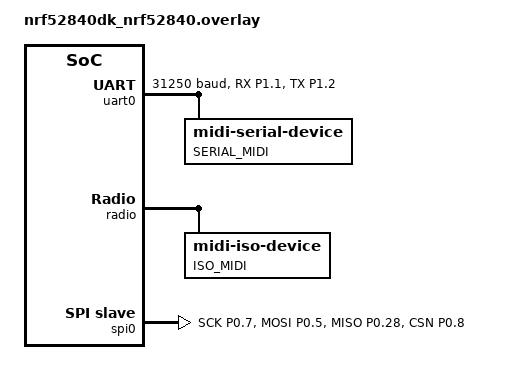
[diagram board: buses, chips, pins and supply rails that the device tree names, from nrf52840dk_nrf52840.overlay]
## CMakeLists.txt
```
cmake_minimum_required(VERSION 3.13.1)

find_package(Zephyr REQUIRED HINTS $ENV{ZEPHYR_BASE})
project(broadcaster_midi)

# NORDIC SDK APP START
target_sources(app PRIVATE
  src/main.c
)
# NORDIC SDK APP END

zephyr_library_include_directories(${CMAKE_CURRENT_SOURCE_DIR})
```

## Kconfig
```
source "Kconfig.zephyr"

config PRODUCT_ID
    string "Product ID"
    default "0x0001"
    help
      Product ID

config MIDI_TEST_MODE
	bool "Run sample in test mode"
  default n

if MIDI_TEST_MODE

  config MIDI_TEST_MSG_NUM_INCREMENT
    bool "Increment number of messages to send"
    default n
    help
      Increment number of messages sent If enabled, the number of messages will increment from 1 to the value set in MIDI_TEST_MSG_NUM.
  
  config MIDI_TEST_MSG_NUM
    int "Number of messages to send"
    default 1 
    default 2 if MIDI_TEST_2_MSG_500_INTERVAL
    default 2 if MIDI_TEST_2_MSG_500_INTERVAL_1000_SPACING
    default 2 if MIDI_TEST_2_MSG_500_INTERVAL_3000_SPACING
    default 12 if MIDI_TEST_12_MSG_500_INTERVAL
    help
      Number of messages to send

  config MIDI_TEST_MSG_INTERVAL_RANDOM
    bool "Randomize interval between messages"
    default n
    help
      Randomize interval between messages. If enabled, the interval will be a random value between 0 and the value set in MIDI_TEST_MSG_INTERVAL.

  config MIDI_TEST_MSG_INTERVAL
    int "Interval between clusters of messages (ms)"
    default 500
    help
      Interval between messages

  config MIDI_TEST_MSG_SPACING_RANDOM
    bool "Randomize interval between messages"
    default n
    help
      Randomize interval between messages. If enabled, the interval will be a random value between 0 and the value set in MIDI_TEST_MSG_SPACING.

  config MIDI_TEST_MSG_SPACING
    int "Spacing between single messages (us)"
    default 0
    default 1000 if MIDI_TEST_2_MSG_500_INTERVAL_1000_SPACING
    default 3000 if MIDI_TEST_2_MSG_500_INTERVAL_3000_SPACING
    help
      Spacing between single messages

  config MIDI_TEST_SYSEX
    bool "Send sysex test message"
    default n
    help
      Send sysex message


endif
```

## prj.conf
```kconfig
CONFIG_PRODUCT_ID="1050276126"

# Enable the UART driver
CONFIG_UART_ASYNC_API=y
CONFIG_NRFX_UARTE0=y

CONFIG_HEAP_MEM_POOL_SIZE=4096

# Enable the BLE stack
CONFIG_BT=y

CONFIG_BT_ISO_BROADCASTER=y
CONFIG_LOG=y
CONFIG_BT_DEVICE_NAME="Test ISO Broadcaster"

CONFIG_BT_ISO_MAX_CHAN=1
CONFIG_BT_ISO_TX_BUF_COUNT=2

# Just needs to send a uint32_t value
CONFIG_BT_ISO_TX_MTU=96
CONFIG_BT_CTLR_ADV_ISO=y
CONFIG_BT_CTLR_ADV_ISO_PDU_LEN_MAX=96
CONFIG_BT_CTLR_ADV_ISO_STREAM_MAX=1

CONFIG_BT_CTLR_ISOAL_SOURCES=1

CONFIG_BT_CTLR_ADV_DATA_LEN_MAX=96

# FIXME: Host needs CONFIG_BT_ISO_TX_MTU + 4 bytes for sequence number, and
# optionally additional + 4 bytes for timestamp when not using
# BT_ISO_TIMESTAMP_NONE in bt_iso_chan_send(), otherwise Host tries to fragment
# ISO data.
# When Host is fixed, CONFIG_BT_CTLR_ISO_TX_BUFFER_SIZE can inherit the
# CONFIG_BT_ISO_TX_MTU value.
CONFIG_BT_CTLR_ISO_TX_BUFFER_SIZE=100
CONFIG_BT_CTLR_ISOAL_SN_STRICT=n
CONFIG_BT_LL_SW_SPLIT=y


# Enable DK LED and Buttons library
CONFIG_DK_LIBRARY=y

# This example requires more workqueue stack
CONFIG_SYSTEM_WORKQUEUE_STACK_SIZE=8192

# Config logger
CONFIG_LOG=y
CONFIG_USE_SEGGER_RTT=y
CONFIG_LOG_BACKEND_RTT=y
CONFIG_LOG_BACKEND_UART=n
CONFIG_CONSOLE=n
CONFIG_UART_CONSOLE=n

CONFIG_MIDI=y
CONFIG_MIDI_SERIAL=y
CONFIG_MIDI_ISO_BROADCASTER=y
CONFIG_MIDI_PARSER=y
CONFIG_MIDI_UMP=y
CONFIG_MIDI_CI=y


CONFIG_SPI=y
CONFIG_SPI_SLAVE=y

CONFIG_NRFX_TIMER3=y

CONFIG_MIDI_TEST_MODE=y
# CONFIG_MIDI_TEST_1_MSG_500_INTERVAL=y
# CONFIG_MIDI_TEST_2_MSG_500_INTERVAL_1000_SPACING=y
# CONFIG_MIDI_TEST_2_MSG_500_INTERVAL_3000_SPACING=y

#Override test parameters
CONFIG_MIDI_TEST_MSG_INTERVAL_RANDOM=y
CONFIG_MIDI_TEST_MSG_INTERVAL=1500
CONFIG_MIDI_TEST_MSG_SPACING_RANDOM=y
CONFIG_MIDI_TEST_MSG_SPACING=1000
CONFIG_MIDI_TEST_MSG_NUM=5

# CONFIG_MIDI_TEST_SYSEX=n
```

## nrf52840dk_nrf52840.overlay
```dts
&pinctrl {
	uart0_default: uart0_default {
		group1 {
			psels = <NRF_PSEL(UART_RX, 1, 1)>;
			bias-pull-up;
		};
		group2 {
			psels = <NRF_PSEL(UART_TX, 1, 2)>;
		};
	};

	uart0_sleep: uart0_sleep {
		group1 {
			psels = <NRF_PSEL(UART_RX, 1, 1)>,
				<NRF_PSEL(UART_TX, 1, 2)>;
			low-power-enable;
		};
	};

	spi0_default: spi0_default {
		group1 {
			psels = <NRF_PSEL(SPIS_SCK, 0, 7)>,
				<NRF_PSEL(SPIS_MOSI, 0, 5)>,
				<NRF_PSEL(SPIS_MISO, 0, 28)>,
				<NRF_PSEL(SPIS_CSN, 0, 8)>;
		};
	};
};

&uart0 {
	current-speed = <31250>;
    pinctrl-0 = <&uart0_default>;
	pinctrl-1 = <&uart0_sleep>;
    midi_serial_device {
        label = "SERIAL_MIDI";
        compatible = "midi-serial-device";
        midi_serial_in_device{
            compatible = "midi-serial-in-device";
            label = "SERIAL_MIDI_IN";
        };
    
        midi_serial_out_device{
            compatible = "midi-serial-out-device";
            label = "SERIAL_MIDI_OUT";
            handle-timestamps;
        };
    };

};

&radio{
	midi_iso_device {
		compatible = "midi-iso-device";
		label = "ISO_MIDI";
		midi_iso_broadcast_device {
			label = "ISO_MIDI_BROADCASTER";
			compatible = "midi-iso-broadcaster-device";
		};
    };
};

&spi0{
	status = "okay";
	compatible = "nordic,nrf-spis";
	def-char = <0x00>;
	pinctrl-0 = <&spi0_default>;
};
```

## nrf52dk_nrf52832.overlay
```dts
&pinctrl {
	uart0_default: uart0_default {
		group1 {
			psels = <NRF_PSEL(UART_TX, 0, 12)>,
				<NRF_PSEL(UART_RX, 0, 11)>;
		};
	};

	uart0_sleep: uart0_sleep {
		group1 {
			psels = <NRF_PSEL(UART_TX, 0, 12)>,
				<NRF_PSEL(UART_RX, 0, 11)>;
			low-power-enable;
		};
	};

	spi0_default: spi0_default {
		group1 {
			psels = <NRF_PSEL(SPIS_SCK, 0, 7)>,
				<NRF_PSEL(SPIS_MOSI, 0, 5)>,
				<NRF_PSEL(SPIS_MISO, 0, 28)>,
				<NRF_PSEL(SPIS_CSN, 0, 8)>;
		};
	};
};

&uart0 {
	current-speed = <31250>;
    pinctrl-0 = <&uart0_default>;
	pinctrl-1 = <&uart0_sleep>;
    midi_serial_device {
        label = "SERIAL_MIDI";
        compatible = "midi-serial-device";
        midi_serial_in_device{
            compatible = "midi-serial-in-device";
            label = "SERIAL_MIDI_IN";
        };
    
        midi_serial_out_device{
            compatible = "midi-serial-out-device";
            label = "SERIAL_MIDI_OUT";
            handle-timestamps;
        };
    };

};

&radio{
	midi_iso_device {
		compatible = "midi-iso-device";
		label = "ISO_MIDI";
		midi_iso_broadcast_device {
			label = "ISO_MIDI_BROADCASTER";
			compatible = "midi-iso-broadcaster-device";
		};
    };
};

&spi0{
	status = "okay";
	compatible = "nordic,nrf-spis";
	def-char = <0x00>;
	pinctrl-0 = <&spi0_default>;
};
```

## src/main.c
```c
#include <zephyr/types.h>
#include <zephyr/device.h>
#include <soc.h>

#include <test_gpio.h>
#include <dk_buttons_and_leds.h>
#include <midi/midi.h>
#include <midi/midi_iso.h>
#include <midi/midi_parser.h>
#include <midi/midi_sysex.h>
#include <midi/midi_ump.h>
#include <midi/midi_ci.h>
#include <zephyr/drivers/spi.h>

#include <zephyr/logging/log.h>

#define LOG_MODULE_NAME midi
LOG_MODULE_REGISTER(LOG_MODULE_NAME);

#define RUN_STATUS_LED DK_LED1
#define CON_STATUS_LED DK_LED2
#define RUN_LED_BLINK_INTERVAL 1000

#define UMP_NAME "nrf midi broadcaster"
#define FUNCTION_BLOCK_NAME "broadcaster function block"

#define SPI_NODE	DT_NODELABEL(spi0)

static void spi_thread_fn(void *p1, void *p2, void *p3);
static void rx_thread_fn(void *p1, void *p2, void *p3);

K_THREAD_DEFINE(spi_thread, 512,  spi_thread_fn, 
		NULL, NULL, NULL, K_PRIO_COOP(1), 0, 0);

K_THREAD_DEFINE(rx_thread, 512, rx_thread_fn, 
		NULL, NULL, NULL, K_PRIO_COOP(1), 0, 0);

static K_FIFO_DEFINE(esb_spi_fifo);

K_SEM_DEFINE(device_discovered_sem, 0, 1);
K_SEM_DEFINE(init_sem, 0, 2);

const struct device *serial_midi_in_dev;
const struct device *serial_midi_out_dev;
const struct device *iso_midi_out_dev;
const struct device *spi_dev;

#define MAX_NUM_MUID 1
// uint32_t remote_muid = 0;
uint8_t num_muid = 0;
uint32_t remote_muid[] = {0, 0};

DEFINE_MIDI_PARSER_SERIAL(serial_parser);

DEFINE_MIDI_UMP_ENDPOINT(ump_endpoint, UMP_NAME, CONFIG_PRODUCT_ID, 0x07,
	0x08, 0x09, 0x00, 0x01, 0x01, MIDI_PROTOCOL_1_0, 0x01, 
	(MIDI_UMP_CI_CATEGORY_SUPPORTED_PROFILE_CONFIGURATION | 
 	MIDI_UMP_CI_CATEGORY_SUPPORTED_PROPERTY_EXCHANGE), false, false, 0xFF); 
 
 DEFINE_MIDI_UMP_FUNCTION_BLOCK(function_block, FUNCTION_BLOCK_NAME,
                MIDI_UMP_FUNCTION_BLOCK_BIDIRECTIONAL, 
				MIDI_UMP_FUNCTION_BLOCK_MIDI_1_0_31250_BPS, 
				MIDI_UMP_FUNCTION_BLOCK_RECEIVER_SENDER, 
				0x00, 0x01, 0x02, 
                0x01);

static int midi_iso_sent(const struct device *dev,
			  midi_msg_t *msg,
			  void *user_data)
{
	int err;

	LOG_DBG("MIDI iso sent!");
	midi_msg_unref(msg);

	return 0;
}

static int midi_serial_sent(const struct device *dev,
			  midi_msg_t *msg,
			  void *user_data)
{
	LOG_DBG("MIDI serial sent!");
	midi_msg_unref(msg);

	return 0;
}

midi_msg_t *midi_1_0_to_ump(midi_msg_t *msg, uint8_t channel)
{
	midi_status_t *status;
	midi_msg_t *ump_msg;

	if (msg->format != MIDI_FORMAT_1_0_PARSED)
	{
		return NULL;
	}

	status = (midi_status_t*)msg->data;
	switch (status->opcode)
	{
	case MIDI_OP_NOTE_OFF:
	case MIDI_OP_NOTE_ON:
	case MIDI_OP_POLYPHONIC_AFTERTOUCH:
	case MIDI_OP_CONTROL_CHANGE:
	case MIDI_OP_PITCH_BEND:
		ump_msg = midi_ump_1_0_channel_voice_msg_create_alloc(0, status->opcode, 
								channel, msg->data[1], msg->data[2], &remote_muid[0]);
		break;
	case MIDI_OP_PROGRAM_CHANGE:
	case MIDI_OP_CHANNEL_PRESSURE:
		ump_msg = midi_ump_1_0_channel_voice_msg_create_alloc(0, status->opcode, 
									channel, msg->data[1], 0, &remote_muid[0]);
		break;
	default:
		ump_msg = NULL;
		break;
	}
	return ump_msg;
}


static int midi_serial_received(const struct device *dev,
			  midi_msg_t *msg,
			  void *user_data)
{
	midi_msg_t *msg_channel_voice;
	midi_msg_t *parsed_msg = midi_parse_serial(msg, &serial_parser);
	midi_msg_unref(msg);

	midi_ump_function_block_t remote_function_block;
	
	if (parsed_msg) {
		msg_channel_voice = midi_1_0_to_ump(parsed_msg, 0);
		midi_msg_unref(parsed_msg);

		if (msg_channel_voice)
		{
			midi_send(iso_midi_out_dev, msg_channel_voice);
		}
	}
	
	return 0;
}

const struct device * get_port(const char* name, 
			midi_transfer cb, void *user_data)
{
	int err;
	const struct device * dev;
	dev = device_get_binding(name);

	if (!dev) {
		LOG_ERR("Can not get device: %s", name);
		return NULL;
	}

	err = midi_callback_set(dev, cb, user_data);
	if (err != 0) {
		LOG_ERR("Can not set callbacks for device: %s", name);
	}

	return dev;
}

static int handle_midi_ci(midi_msg_t *msg)
{
	int err;
	midi_ump_function_block_t *remote_function_block;	
	midi_ci_msg_header_t * header = midi_ci_parse_msg_header(msg);

	switch (header->universal_sysex_header.sub_id_2)
	{
	case MIDI_CI_MANAGEMENT_DISCOVERY:

		break;
	case MIDI_CI_MANAGEMENT_DISCOVERY_REPLY:
		if(midi_ump_get_remote_function_block_by_muid(&function_block, 
					MIDI_DATA_ARRAY_4_BYTE_TO_INTEGER(header->source_muid))) {
			LOG_INF("Remote function block already exists");
			break;
		}

		remote_function_block = midi_ci_parse_function_block_from_msg(msg);
		err = midi_ump_add_remote_function_block(&function_block, remote_function_block);

		
		remote_muid[num_muid] = remote_function_block->muid;
		num_muid++;

		LOG_INF("Remote function block added, %x", remote_function_block->muid);

		if (num_muid == MAX_NUM_MUID)
		{
			LOG_INF("All devices discovered!");
			k_sem_give(&device_discovered_sem);
		}
		
		break;
	default:
		break;
	}

	return err;
}

static int handle_sysex(midi_msg_t *msg)
{
	midi_sysex_universal_msg_header_t *sysex_header;
	sysex_header = midi_sysex_universal_msg_header_parse(msg);
	switch (sysex_header->sub_id_1)
	{
	case MIDI_SYSEX_SUB_ID_1_MIDI_CI:
		handle_midi_ci(msg);
		break;
	
	default:
		break;
	}
	return 0;
}

static void rx_thread_fn(void *p1, void *p2, void *p3)
{
	midi_msg_t *msg;
	int err;
	
	k_sem_take(&init_sem, K_FOREVER);

	while (1)
	{
		msg = k_fifo_get(&esb_spi_fifo, K_FOREVER);
		if (msg)
		{
			if (msg->data[0] == 0xF0)
			{
				LOG_DBG("SysEx message received!");
				msg->format = MIDI_FORMAT_1_0_PARSED;
				handle_sysex(msg);
			}

			if (msg->data[0] == 0xFF)
			{
				// LOG_HEXDUMP_INF(msg->data, 3, "acked:");
				midi_iso_ack_msg(msg->data[1], msg->data[2]);
				LOG_INF("Ack msg received! muid: %x msg id: %x,", msg->data[1], msg->data[2]);
			}
			midi_msg_unref(msg);
		}
	}
}

static void spi_thread_fn(void *p1, void *p2, void *p3)
{
	uint8_t len;
	
	k_sem_take(&init_sem, K_FOREVER);

	struct spi_config config = (struct spi_config){
		.frequency = 125000,
		.operation = SPI_OP_MODE_SLAVE | SPI_WORD_SET(8),
		.slave = 0,
		.cs = NULL,
	};

	while (1)
	{
		midi_msg_t *msg;
		msg = midi_msg_alloc(NULL, 48);

		struct spi_buf rx_buf = {
			.buf = msg->data,
			.len = 48,
		};
		
		struct spi_buf_set rx_bufs = {
			.buffers = &rx_buf,
			.count = 1,
		};

		len = spi_read(spi_dev, &config, &rx_bufs);
		msg->len = len;

		k_fifo_put(&esb_spi_fifo, msg);
	}
}

void main(void)
{
	int blink_status = 0;
	int err;
	midi_msg_t *msg_discovery;

	spi_dev = DEVICE_DT_GET(SPI_NODE);
	if (!device_is_ready(spi_dev)) {
		LOG_INF("device not ready.");
	}

	midi_ump_add_function_block(&ump_endpoint, &function_block);
	midi_iso_set_function_block(&function_block);

	/*SERIAL PORTS*/
	serial_midi_in_dev = get_port("SERIAL_MIDI_IN", 
			midi_serial_received, NULL);
	
	serial_midi_out_dev = get_port("SERIAL_MIDI_OUT", 
			midi_serial_sent, NULL);

	/*ISO PORTS*/
	iso_midi_out_dev = get_port("ISO_MIDI_BROADCASTER", 
			midi_iso_sent, NULL);

	LOG_INF("ports gotten");

	k_fifo_init(&esb_spi_fifo);

	err = dk_leds_init();
	if (err) {
		LOG_ERR("Cannot init LEDs (err: %d)", err);
	}

	test_gpio_init(13);
	test_gpio_init(6);

	k_sem_give(&init_sem);
	k_sem_give(&init_sem);

	msg_discovery = midi_ci_discovery_msg_create_alloc(&function_block);

	LOG_INF("MIDI iso broadcasting sample running");

	for (;;) {
		dk_set_led(RUN_STATUS_LED, (++blink_status) % 2);
		k_sleep(K_MSEC(RUN_LED_BLINK_INTERVAL));
		if (num_muid < MAX_NUM_MUID)
		{
			LOG_INF("Sending discovery message");
			msg_discovery = midi_msg_ref(msg_discovery);
			midi_send(iso_midi_out_dev, msg_discovery);
		}
	}
}

#if CONFIG_MIDI_TEST_MODE

static void test_thread_fn(void *p1, void *p2, void *p3);

K_THREAD_DEFINE(test_thread, 512, test_thread_fn, 
	NULL, NULL, NULL, K_PRIO_COOP(1), 0, 0);

static void test_thread_fn(void *p1, void *p2, void *p3)
{
	uint8_t msg_num = CONFIG_MIDI_TEST_MSG_NUM;
	midi_msg_t *test_msg[CONFIG_MIDI_TEST_MSG_NUM];

	for (size_t i = 0; i < CONFIG_MIDI_TEST_MSG_NUM; i++) {
		test_msg[i] = midi_ump_1_0_channel_voice_msg_create_alloc(0, 
		MIDI_OP_NOTE_ON, 0, 0x40, 0x020 + i, &remote_muid[i % MAX_NUM_MUID]);
	}

	k_sem_take(&device_discovered_sem, K_FOREVER);
	while (1)
	{	
		#if CONFIG_MIDI_TEST_MSG_INTERVAL_RANDOM
		k_sleep(K_MSEC(sys_rand32_get() % CONFIG_MIDI_TEST_MSG_INTERVAL));
		#else
		k_sleep(K_MSEC(CONFIG_MIDI_TEST_MSG_INTERVAL));
		#endif /* MIDI_TEST_MSG_INTERVAL_RANDOM */

		#if CONFIG_MIDI_TEST_MSG_NUM_INCREMENT
		if(msg_num == CONFIG_MIDI_TEST_MSG_NUM) {
			msg_num = 0;
		}
		msg_num++;	
		#endif /* CONFIG_MIDI_TEST_MSG_NUM_INCREMENT */

		for (int i = 0; i < msg_num; i++) {
			test_msg[i] = midi_msg_ref(test_msg[i]);
			midi_send(iso_midi_out_dev, test_msg[i]);
			test_gpio_toggle(6);
			#if CONFIG_MIDI_TEST_MSG_SPACING_RANDOM
			k_sleep(K_USEC(sys_rand32_get() % CONFIG_MIDI_TEST_MSG_SPACING));
			#else
			k_sleep(K_USEC(CONFIG_MIDI_TEST_MSG_SPACING));
			#endif /* MIDI_TEST_MSG_SPACING_RANDOM */
		}
	}
}
#endif /* CONFIG_MIDI_TEST_MODE */
```
